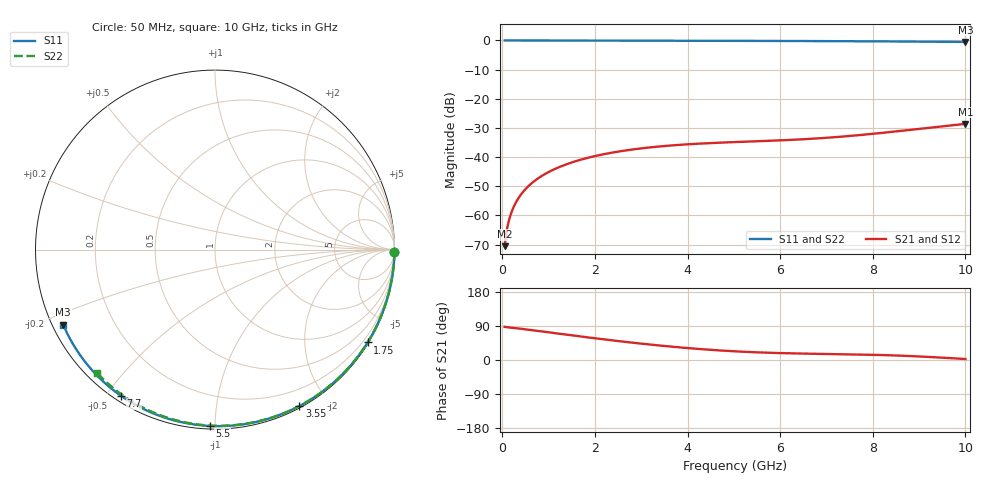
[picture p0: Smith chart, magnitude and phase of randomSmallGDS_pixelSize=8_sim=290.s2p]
! freq	dB(S11)	phase(S11)	dB(S12)	phase(S12)
!  dB(S21)	phase(S21)	dB(S22)	phase(S22)
!S-par simulation data
#  GHz  S  DB  R 50
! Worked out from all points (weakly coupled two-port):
!   200 points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, 50 MHz to 10 GHz, reference 50 ohm
!   highest |S21| = -28.59 dB at 10 GHz (marker M1); lowest = -70.5 dB at 50 MHz (marker M2)
!   lowest |S11| = -0.5 dB at 10 GHz (marker M3), VSWR 34.30, Z = 1.54 - j11.7 ohm
!   |S11| at or under -10 dB: nowhere
!   |S22| runs from -0.4 to 0.0 dB; largest |S21 - S12| = 0
!   S11 on the Smith chart (normalised r, x): 50 MHz: open; 1.75 GHz: 0.03, -3.57; 3.55 GHz: 0.02, -1.67; 5.5 GHz: 0.02, -0.97; 7.7 GHz: 0.02, -0.55; 10 GHz: 0.03, -0.23
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0.05  -0.00 -0.9  -70.52 87.6  -70.52 87.6  -0.00 -0.8
0.1  -0.00 -1.8  -64.68 86.5  -64.68 86.5  -0.00 -1.6
0.15  -0.00 -2.7  -61.26 85.9  -61.26 85.9  -0.00 -2.4
0.2  -0.00 -3.6  -58.82 85.3  -58.82 85.3  -0.00 -3.1
0.25  -0.00 -4.6  -56.91 84.6  -56.91 84.6  -0.00 -3.9
0.35  -0.00 -6.4  -54.03 83.3  -54.03 83.3  -0.00 -5.5
0.5  -0.01 -9.1  -50.97 81.0  -50.97 81.0  -0.01 -7.8
0.7  -0.01 -12.7  -48.10 77.8  -48.10 77.8  -0.01 -11.0
1  -0.02 -18.1  -45.10 73.0  -45.10 73.0  -0.02 -15.6
1.35  -0.03 -24.3  -42.65 67.4  -42.65 67.4  -0.03 -21.0
1.75  -0.04 -31.3  -40.63 61.2  -40.63 61.2  -0.03 -27.1
2.5  -0.06 -44.2  -38.10 50.0  -38.10 50.0  -0.05 -38.3
3.4  -0.08 -59.2  -36.33 38.2  -36.33 38.2  -0.07 -51.4
3.55  -0.08 -61.7  -36.12 36.4  -36.12 36.4  -0.07 -53.5
4.3  -0.10 -73.6  -35.33 28.6  -35.33 28.6  -0.09 -64.0
5.05  -0.13 -85.1  -34.82 22.7  -34.82 22.7  -0.11 -74.2
5.5  -0.15 -91.8  -34.56 20.2  -34.56 20.2  -0.13 -80.1
6.7  -0.21 -109.0  -33.68 16.5  -33.68 16.5  -0.18 -95.2
7.7  -0.28 -122.7  -32.46 14.6  -32.46 14.6  -0.24 -107.3
8.35  -0.33 -131.5  -31.44 12.5  -31.44 12.5  -0.29 -114.9
9.2  -0.42 -142.9  -29.98 8.1  -29.98 8.1  -0.36 -124.7
10  -0.51 -153.7  -28.59 2.6  -28.59 2.6  -0.44 -133.7
